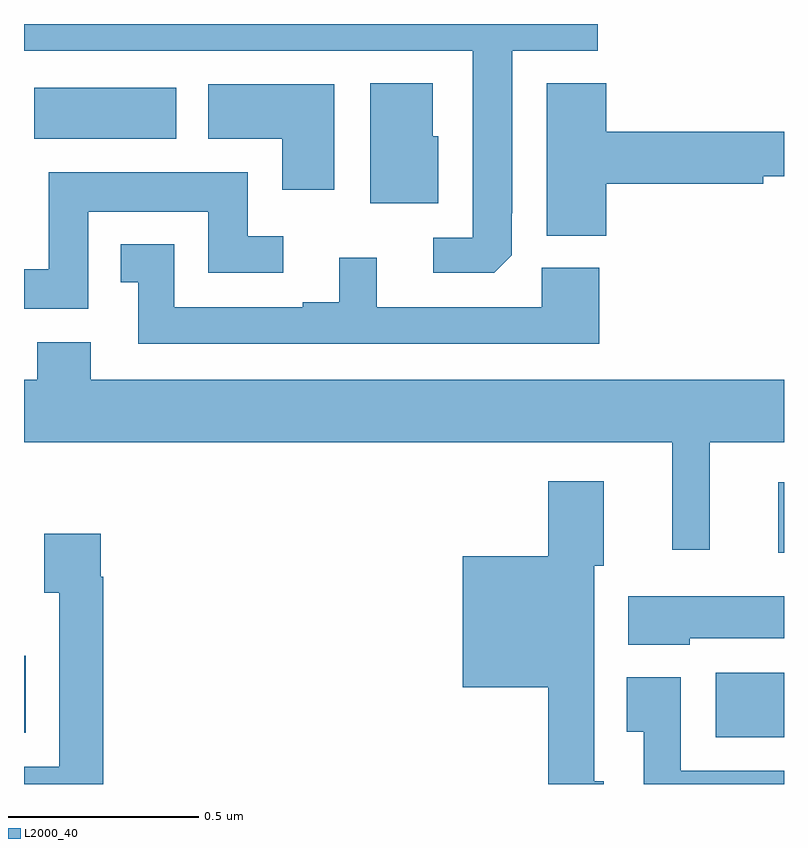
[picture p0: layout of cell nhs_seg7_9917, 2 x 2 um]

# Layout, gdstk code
import gdstk
lib = gdstk.Library(unit=1e-6, precision=1e-09)
def R(c, l, rs):  # rectangles x0, y0, x1, y1
    for r in rs: c.add(gdstk.rectangle(r[:2], r[2:], *l))
def P(c, l, *ps):  # polygons
    for p in ps: c.add(gdstk.Polygon(p, *l))
L2000_40 = (2000, 40)

nhs_seg7_9917 = lib.new_cell('nhs_seg7_9917')
R(nhs_seg7_9917, L2000_40, [(244.82,1049.123,245,1049.293), (243,1049.135,243.004,1049.338), (244.985,1049.609,245,1049.794), (243.027,1050.698,243.4,1050.832)])
P(nhs_seg7_9917, L2000_40, [(244.284,1050.391),(244.284,1050.502),(244.285,1050.502),(244.285,1050.929),(244.51,1050.929),(244.51,1051),(243,1051),(243,1050.929),(244.181,1050.929),(244.181,1050.438),(244.077,1050.438),(244.077,1050.345),(244.238,1050.345)],
  [(244.532,1050.58),(244.946,1050.58),(244.946,1050.6),(245,1050.6),(245,1050.716),(244.532,1050.716),(244.532,1050.844),(244.376,1050.844),(244.376,1050.443),(244.532,1050.443)],
  [(244.09,1050.705),(244.075,1050.705),(244.075,1050.844),(243.911,1050.844),(243.911,1050.528),(244.09,1050.528)],
  [(243.817,1050.841),(243.485,1050.841),(243.485,1050.698),(243.68,1050.698),(243.68,1050.564),(243.817,1050.564)],
  [(243.169,1050.506),(243.485,1050.506),(243.485,1050.345),(243.682,1050.345),(243.682,1050.441),(243.589,1050.441),(243.589,1050.61),(243.065,1050.61),(243.065,1050.355),(243,1050.355),(243,1050.251),(243.169,1050.251)],
  [(244.514,1050.358),(244.362,1050.358),(244.362,1050.255),(243.928,1050.255),(243.928,1050.385),(243.83,1050.385),(243.83,1050.268),(243.734,1050.268),(243.734,1050.255),(243.396,1050.255),(243.396,1050.421),(243.254,1050.421),(243.254,1050.321),(243.3,1050.321),(243.3,1050.159),(244.514,1050.159)],
  [(244.805,1049.9),(245,1049.9),(245,1050.064),(243.175,1050.064),(243.175,1050.163),(243.035,1050.163),(243.035,1050.064),(243,1050.064),(243,1049.9),(244.706,1049.9),(244.706,1049.616),(244.805,1049.616)],
  [(244.525,1049.007),(244.501,1049.007),(244.501,1049.574),(244.525,1049.574),(244.525,1049.797),(244.379,1049.797),(244.379,1049.599),(244.154,1049.599),(244.154,1049.255),(244.379,1049.255),(244.379,1049),(244.525,1049)],
  [(243.209,1049.546),(243.202,1049.546),(243.202,1049.659),(243.053,1049.659),(243.053,1049.503),(243.093,1049.503),(243.093,1049.046),(243,1049.046),(243,1049),(243.209,1049)],
  [(244.752,1049.384),(245,1049.384),(245,1049.494),(244.59,1049.494),(244.59,1049.366),(244.752,1049.366)],
  [(245,1049.035),(244.728,1049.035),(244.728,1049.281),(244.586,1049.281),(244.586,1049.137),(244.631,1049.137),(244.631,1049),(245,1049)])

lib.write_gds('nhs_seg7_9917.gds')
